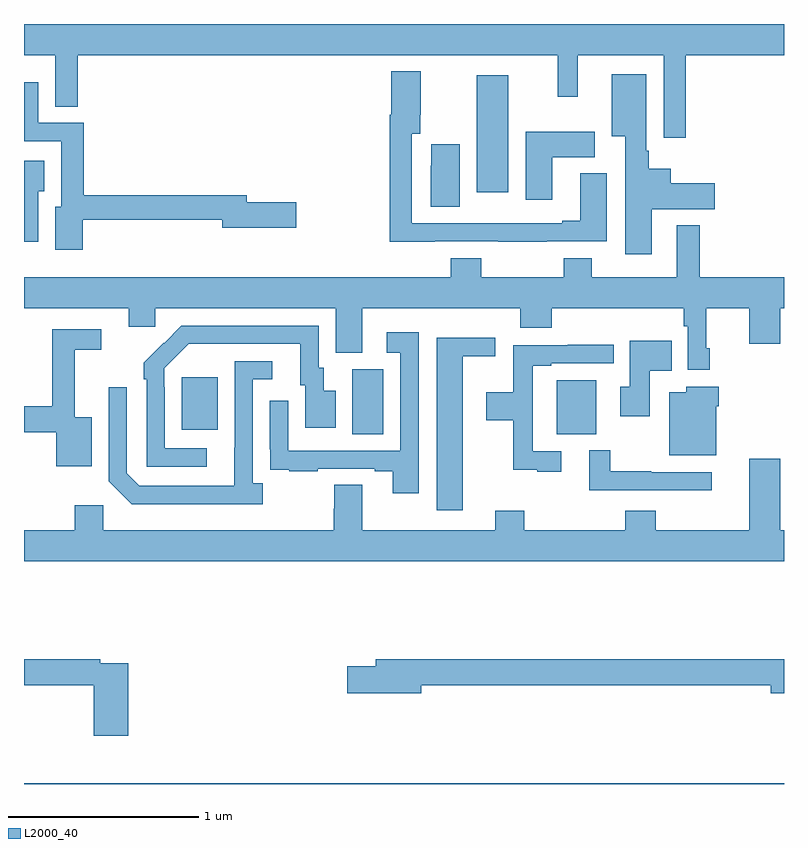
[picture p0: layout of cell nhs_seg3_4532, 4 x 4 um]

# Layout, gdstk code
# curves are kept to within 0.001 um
import gdstk
lib = gdstk.Library(unit=1e-6, precision=1e-09)
def R(c, l, rs):  # rectangles x0, y0, x1, y1
    for r in rs: c.add(gdstk.rectangle(r[:2], r[2:], *l))
def P(c, l, *ps):  # polygons
    for p in ps: c.add(gdstk.Polygon(p, *l))
L2000_40 = (2000, 40)

nhs_seg3_4532 = lib.new_cell('nhs_seg3_4532')
R(nhs_seg3_4532, L2000_40, [(353,710.4,357,710.404), (354.728,712.24,354.892,712.584), (355.805,712.241,356.011,712.525), (353.831,712.265,354.019,712.54), (355.382,713.514,355.549,714.13)])
P(nhs_seg3_4532, L2000_40, [(356.483,714.236),(357,714.236),(357,714.4),(353,714.4),(353,714.236),(353.165,714.236),(353.165,713.965),(353.284,713.965),(353.284,714.236),(355.809,714.236),(355.809,714.018),(355.915,714.018),(355.915,714.236),(356.367,714.236),(356.367,713.802),(356.483,713.802)],
  [(355.163,713.256),(355.495,713.256),(355.495,713.255),(355.751,713.255),(355.751,713.256),(356.068,713.256),(356.068,713.614),(355.928,713.614),(355.928,713.365),(355.832,713.365),(355.832,713.352),(355.041,713.352),(355.041,713.822),(355.086,713.822),(355.086,713.923),(355.089,713.923),(355.089,714.151),(354.932,714.151),(354.932,713.923),(354.925,713.923),(354.925,713.255),(355.163,713.255)],
  [(356.305,713.426),(356.635,713.426),(356.635,713.561),(356.404,713.561),(356.404,713.638),(356.288,713.638),(356.288,713.734),(356.275,713.734),(356.275,714.136),(356.093,714.136),(356.093,713.81),(356.165,713.81),(356.165,713.187),(356.305,713.187)],
  [(353.309,713.37),(354.044,713.37),(354.044,713.327),(354.433,713.327),(354.433,713.462),(354.172,713.462),(354.172,713.498),(353.314,713.498),(353.314,713.88),(353.076,713.88),(353.076,714.094),(353,714.094),(353,713.784),(353.195,713.784),(353.195,713.439),(353.165,713.439),(353.165,713.211),(353.309,713.211)],
  [(355.78,713.699),(356.005,713.699),(356.005,713.833),(355.64,713.833),(355.64,713.475),(355.78,713.475)],
  [(355.294,713.766),(355.144,713.766),(355.144,713.654),(355.142,713.654),(355.142,713.437),(355.294,713.437)],
  [(353.076,713.521),(353.107,713.521),(353.107,713.68),(353,713.68),(353,713.255),(353.076,713.255)],
  [(356.609,712.693),(356.592,712.693),(356.592,712.904),(356.816,712.904),(356.816,712.716),(356.98,712.716),(356.98,712.904),(357,712.904),(357,713.068),(356.557,713.068),(356.557,713.341),(356.435,713.341),(356.435,713.068),(355.987,713.068),(355.987,713.167),(355.84,713.167),(355.84,713.068),(355.407,713.068),(355.407,713.167),(355.247,713.167),(355.247,713.068),(353,713.068),(353,712.904),(353.552,712.904),(353.552,712.806),(353.691,712.806),(353.691,712.904),(354.641,712.904),(354.641,712.669),(354.781,712.669),(354.781,712.904),(355.613,712.904),(355.613,712.802),(355.778,712.802),(355.778,712.904),(356.473,712.904),(356.473,712.808),(356.493,712.808),(356.493,712.581),(356.609,712.581)],
  [(353.962,712.167),(353.742,712.167),(353.742,712.487),(353.739,712.487),(353.739,712.587),(353.868,712.716),(354.455,712.716),(354.455,712.5),(354.479,712.5),(354.479,712.275),(354.64,712.275),(354.64,712.471),(354.577,712.471),(354.577,712.59),(354.552,712.59),(354.552,712.812),(353.828,712.812),(353.631,712.617),(353.631,712.529),(353.646,712.529),(353.646,712.071),(353.962,712.071)],
  [(353.356,712.33),(353.267,712.33),(353.267,712.686),(353.407,712.686),(353.407,712.794),(353.149,712.794),(353.149,712.388),(353,712.388),(353,712.252),(353.169,712.252),(353.169,712.073),(353.356,712.073)],
  [(355.077,712.777),(354.909,712.777),(354.909,712.671),(354.981,712.671),(354.981,712.155),(354.39,712.155),(354.39,712.417),(354.294,712.417),(354.294,712.162),(354.295,712.162),(354.295,712.053),(354.397,712.053),(354.397,712.047),(354.545,712.047),(354.545,712.059),(354.845,712.059),(354.845,712.047),(354.941,712.047),(354.941,711.93),(355.077,711.93)],
  [(355.309,712.652),(355.48,712.652),(355.48,712.75),(355.172,712.75),(355.172,711.84),(355.309,711.84)],
  [(356.293,712.574),(356.408,712.574),(356.408,712.732),(356.189,712.732),(356.189,712.491),(356.139,712.491),(356.139,712.335),(356.293,712.335)],
  [(355.828,712.152),(355.677,712.152),(355.677,712.602),(355.774,712.602),(355.774,712.614),(356.104,712.614),(356.104,712.712),(355.861,712.712),(355.861,712.71),(355.576,712.71),(355.576,712.462),(355.434,712.462),(355.434,712.315),(355.576,712.315),(355.576,712.055),(355.7,712.055),(355.7,712.044),(355.828,712.044)],
  [(354.256,711.982),(354.204,711.982),(354.204,712.53),(354.307,712.53),(354.307,712.626),(354.108,712.626),(354.107,711.969),(353.607,711.969),(353.541,712.035),(353.541,712.489),(353.445,712.489),(353.445,711.993),(353.566,711.872),(354.256,711.872)],
  [(356.644,712.388),(356.657,712.388),(356.657,712.492),(356.486,712.492),(356.486,712.462),(356.396,712.462),(356.396,712.13),(356.644,712.13)],
  [(356.62,712.041),(356.3,712.041),(356.3,712.046),(356.086,712.046),(356.086,712.156),(355.976,712.156),(355.976,711.945),(356.62,711.945)],
  [(357,711.736),(356.98,711.736),(356.98,712.111),(356.816,712.111),(356.816,711.736),(356.325,711.736),(356.325,711.838),(356.165,711.838),(356.165,711.736),(355.634,711.736),(355.634,711.838),(355.481,711.838),(355.481,711.736),(354.781,711.736),(354.781,711.974),(354.634,711.974),(354.634,711.849),(354.629,711.849),(354.629,711.736),(353.418,711.736),(353.418,711.868),(353.267,711.868),(353.267,711.736),(353,711.736),(353,711.572),(357,711.572)],
  [(353.549,711.036),(353.402,711.036),(353.402,711.056),(353,711.056),(353,710.92),(353.366,710.92),(353.366,710.655),(353.549,710.655)],
  [(355.09,710.92),(356.93,710.92),(356.93,710.878),(357,710.878),(357,711.056),(354.851,711.056),(354.851,711.02),(354.702,711.02),(354.702,710.878),(355.09,710.878)])

lib.write_gds('nhs_seg3_4532.gds')
